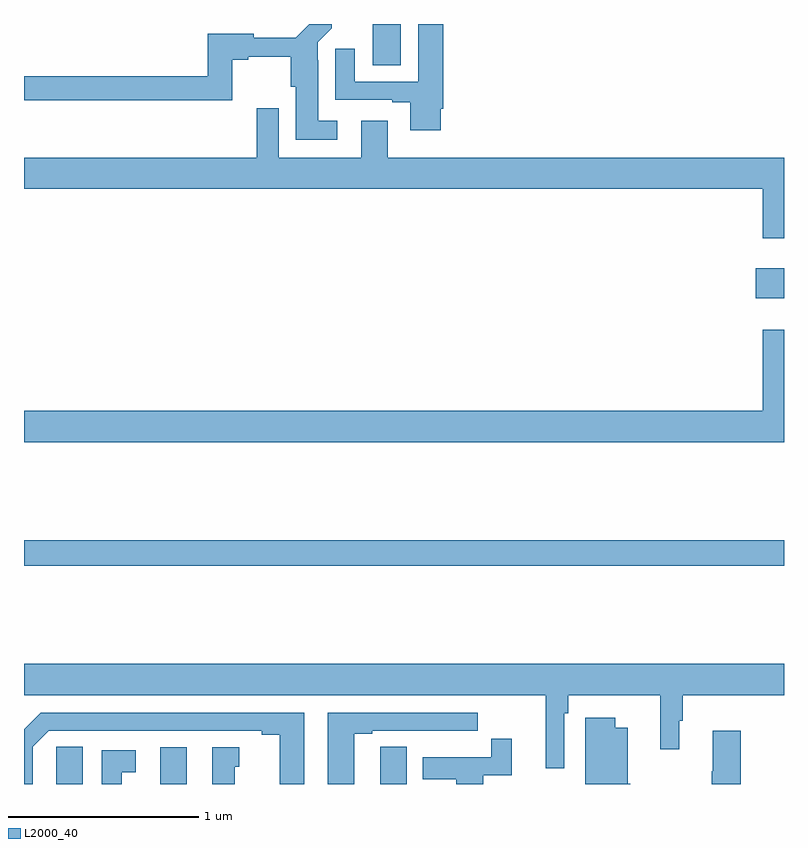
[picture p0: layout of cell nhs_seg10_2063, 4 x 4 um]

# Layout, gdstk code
import gdstk
lib = gdstk.Library(unit=1e-6, precision=1e-09)
def R(c, l, rs):  # rectangles x0, y0, x1, y1
    for r in rs: c.add(gdstk.rectangle(r[:2], r[2:], *l))
def P(c, l, *ps):  # polygons
    for p in ps: c.add(gdstk.Polygon(p, *l))
L2000_40 = (2000, 40)

nhs_seg10_2063 = lib.new_cell('nhs_seg10_2063')
R(nhs_seg10_2063, L2000_40, [(219.716,1314.5,219.856,1314.694), (219,1315.648,223,1315.784), (222.852,1317.056,223,1317.214), (220.835,1318.282,220.984,1318.5)])
P(nhs_seg10_2063, L2000_40, [(220.648,1317.991),(220.549,1317.991),(220.549,1318.31),(220.545,1318.31),(220.545,1318.404),(220.619,1318.478),(220.619,1318.5),(220.502,1318.5),(220.43,1318.428),(220.209,1318.428),(220.209,1318.448),(219.967,1318.448),(219.967,1318.226),(219,1318.226),(219,1318.098),(220.096,1318.098),(220.096,1318.312),(220.18,1318.312),(220.18,1318.327),(220.405,1318.327),(220.405,1318.17),(220.43,1318.17),(220.43,1317.89),(220.648,1317.89)],
  [(221.194,1318.054),(221.207,1318.054),(221.207,1318.5),(221.075,1318.5),(221.075,1318.197),(220.741,1318.197),(220.741,1318.369),(220.637,1318.369),(220.637,1318.101),(220.937,1318.101),(220.937,1318.089),(221.033,1318.089),(221.033,1317.942),(221.194,1317.942)],
  [(223,1317.796),(220.915,1317.796),(220.915,1317.991),(220.775,1317.991),(220.775,1317.796),(220.341,1317.796),(220.341,1318.057),(220.225,1318.057),(220.225,1317.796),(219,1317.796),(219,1317.632),(222.889,1317.632),(222.889,1317.372),(223,1317.372)],
  [(223,1316.89),(222.887,1316.89),(222.887,1316.464),(219,1316.464),(219,1316.3),(223,1316.3)],
  [(221.844,1314.872),(221.864,1314.872),(221.864,1314.968),(222.349,1314.968),(222.349,1314.684),(222.448,1314.684),(222.448,1314.834),(222.467,1314.834),(222.467,1314.968),(223,1314.968),(223,1315.132),(219,1315.132),(219,1314.968),(221.747,1314.968),(221.747,1314.582),(221.844,1314.582)],
  [(220.738,1314.765),(220.834,1314.765),(220.834,1314.78),(221.11,1314.78),(221.11,1314.779),(221.276,1314.779),(221.276,1314.78),(221.389,1314.78),(221.389,1314.876),(220.598,1314.876),(220.598,1314.5),(220.738,1314.5)],
  [(219.045,1314.696),(219.129,1314.78),(220.25,1314.78),(220.25,1314.76),(220.346,1314.76),(220.346,1314.5),(220.474,1314.5),(220.474,1314.876),(219.089,1314.876),(219,1314.787),(219,1314.5),(219.045,1314.5)],
  [(222.19,1314.501),(222.178,1314.501),(222.178,1314.796),(222.112,1314.796),(222.112,1314.85),(221.954,1314.85),(221.954,1314.5),(222.19,1314.5)],
  [(222.773,1314.781),(222.626,1314.781),(222.626,1314.568),(222.619,1314.568),(222.619,1314.5),(222.773,1314.5)],
  [(221.416,1314.546),(221.567,1314.546),(221.567,1314.739),(221.458,1314.739),(221.458,1314.642),(221.099,1314.642),(221.099,1314.526),(221.276,1314.526),(221.276,1314.5),(221.416,1314.5)],
  [(219.31,1314.695),(219.171,1314.695),(219.171,1314.587),(219.17,1314.587),(219.17,1314.5),(219.31,1314.5)],
  [(221.014,1314.695),(220.875,1314.695),(220.875,1314.587),(220.874,1314.587),(220.874,1314.5),(221.014,1314.5)],
  [(220.108,1314.591),(220.132,1314.591),(220.132,1314.694),(219.992,1314.694),(219.992,1314.5),(220.108,1314.5)],
  [(219.514,1314.562),(219.589,1314.562),(219.589,1314.678),(219.41,1314.678),(219.41,1314.5),(219.514,1314.5)])

lib.write_gds('nhs_seg10_2063.gds')
